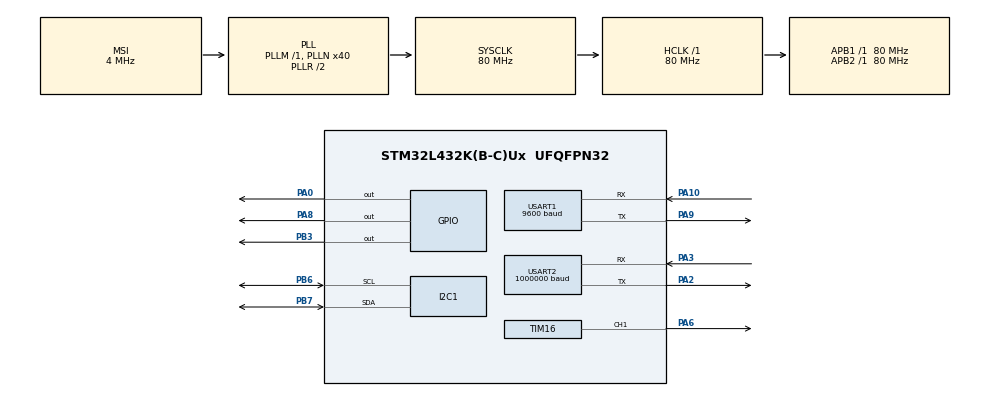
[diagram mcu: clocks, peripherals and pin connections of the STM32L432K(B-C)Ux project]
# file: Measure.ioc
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I2C1.OwnAddress=0x20
I2C1.Timing=0x10909CEC
Mcu.Family=STM32L4
Mcu.Name=STM32L432K(B-C)Ux
Mcu.Package=UFQFPN32
NVIC.I2C1_EV_IRQn=true\:0\:0\:false\:false\:true\:true\:true\:true
NVIC.PriorityGroup=NVIC_PRIORITYGROUP_4
NVIC.USART1_IRQn=true\:0\:0\:true\:false\:true\:true\:true\:true
NVIC.USART2_IRQn=true\:0\:0\:true\:false\:true\:true\:true\:true
PA0.Signal=GPIO_Output
PA10.Mode=Asynchronous
PA10.Signal=USART1_RX
PA2.Mode=Asynchronous
PA2.Signal=USART2_TX
PA3.Mode=Asynchronous
PA3.Signal=USART2_RX
PA6.Signal=S_TIM16_CH1
PA8.Signal=GPIO_Output
PA9.Mode=Asynchronous
PA9.Signal=USART1_TX
PB3\ (JTDO-TRACESWO).Signal=GPIO_Output
PB4\ (NJTRST).Signal=SPI1_MISO
PB5.Signal=SPI1_MOSI
PB6.GPIO_Pu=GPIO_PULLUP
PB6.Mode=I2C
PB6.Signal=I2C1_SCL
PB7.GPIO_Pu=GPIO_PULLUP
PB7.Mode=I2C
PB7.Signal=I2C1_SDA
ProjectManager.HeapSize=0x200
ProjectManager.StackSize=0x400
ProjectManager.TargetToolchain=STM32CubeIDE
RCC.AHBFreq_Value=80000000
RCC.APB1Freq_Value=80000000
RCC.APB1TimFreq_Value=80000000
RCC.APB2Freq_Value=80000000
RCC.APB2TimFreq_Value=80000000
RCC.CortexFreq_Value=80000000
RCC.HCLKFreq_Value=80000000
RCC.HSE_VALUE=8000000
RCC.HSI48_VALUE=48000000
RCC.HSI_VALUE=16000000
RCC.LSE_VALUE=32768
RCC.MSI_VALUE=4000000
RCC.PLLN=40
RCC.SYSCLKFreq_VALUE=80000000
RCC.SYSCLKSource=RCC_SYSCLKSOURCE_PLLCLK
RCC.VCOOutputFreq_Value=160000000
SH.S_TIM16_CH1.0=TIM16_CH1,PWM Generation1 CH1
TIM16.Channel=TIM_CHANNEL_1
TIM16.Period=100 - 1
TIM16.Prescaler=80 - 1
USART1.BaudRate=9600
USART1.Mode=MODE_TX_RX
USART1.VirtualMode-Asynchronous=VM_ASYNC
USART2.BaudRate=1000000
USART2.VirtualMode-Asynchronous=VM_ASYNC
VP_TIM16_VS_ClockSourceINT.Mode=Enable_Timer
board=custom

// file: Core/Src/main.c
/* USER CODE BEGIN Header */
/**
  ******************************************************************************
  * @file           : main.c
  * @brief          : Main program body
  ******************************************************************************
  * @attention
  *
  * Copyright (c) 2023 STMicroelectronics.
  * All rights reserved.
  *
  * This software is licensed under terms that can be found in the LICENSE file
  * in the root directory of this software component.
  * If no LICENSE file comes with this software, it is provided AS-IS.
  *
  ******************************************************************************
  */
/* USER CODE END Header */
#include "main.h"

/* USER CODE BEGIN Includes */

#include "string.h"
#include <stdio.h>
#include <stdlib.h>
#include "math.h"

/* USER CODE END Includes */

/* USER CODE BEGIN PTD */

__IO uint32_t     Transfer_Direction = 0;
__IO uint32_t     Xfer_Complete = 0;

/* USER CODE END PTD */

/* USER CODE BEGIN PD */

#define sizeTableMoy 361

/* USER CODE END PD */

I2C_HandleTypeDef hi2c1;

TIM_HandleTypeDef htim16;

UART_HandleTypeDef huart1;
UART_HandleTypeDef huart2;

/* USER CODE BEGIN PV */

//-------PV for i2c connection
uint8_t I2C_TxBuffer[20]="W\0\0L"; //buffer of i2c transmition
uint8_t I2C_RxBuffer[20]=""; //buffer of i2c reception
int dir=2; //type of command received (0->reception ; 1->transmission)

//-------PV for uart connection
uint8_t UART1_rxBuffer[110]; //buffer of IMU reception
uint8_t lidar_Rx[6800]; //buffer of lidar reception
uint8_t lidar_Tx[10]; //buffer of lidar transmition
char Wmode='F'; //imu reception mode
char Lmode='F'; //lidar reception mode

//-------PV for IMU reception
uint8_t AccData[8]; //acceleration data package
uint8_t AngVelData[8]; //angle velocity data package
uint8_t AngData[8]; //angle data package

int state=0; //state of byte acquisition
int Byte_Num=0; //number of byte received

//-------PV for Lidar reception
int StartLidar=1; //initialisation phase of lidar
int ReceiveInfo=0; //info received phase
int ReceiveSync=0; //synchronization received phase

uint8_t SyncByte=0; //value of syncbyte
uint8_t Checksum=0; //received checksum
uint8_t Check=0; //measured checksum

int stateLidar=0; //byte acquisition state
int indexLidar=0; //number of distance obtained in a data response
int startSample=1; //begining of new data acquisition
int S_bit=0, Sample=0; //value of Start bit (new angle of 360) and validation of sample

float Angle[3300]; //table of each angle measured
int Distance[3300]; // table of each distance measured in mm
int intDist=0, intAngle=0; //number of angle and distance obtained

uint8_t StartAngleLSB;  //lsb of start angle
uint8_t StartAngleMSB; //msb of start angle
uint16_t StartAngleByte; //Start angle in byte
uint16_t DistanceByte; //distance in byte

double StartAngle=0.0; //value of the new start angle
double LastAngle=0.0; //value of the last angle
double DiffAngle=0.0; //angle between two acquisition of data from lidar

float DistMoy[sizeTableMoy]; //mean distance for each degree (360)
int intMoy[sizeTableMoy]; //number of value obtained for each degree

double X=0, Y=0, Theta_N=0; //x and y calculated via lidar and real angle of the robot

//-------PV for Heartbeat
uint32_t beat = 0;

/* USER CODE END PV */

void SystemClock_Config(void);
static void MX_GPIO_Init(void);
static void MX_I2C1_Init(void);
static void MX_USART1_UART_Init(void);
static void MX_USART2_UART_Init(void);
static void MX_TIM16_Init(void);
/* USER CODE BEGIN PFP */
void Call_UART(void);
void ClearBuffer(uint8_t* buffer, int size);
void Heartbeat(void);

/* USER CODE END PFP */

int main(void)
{
  /* USER CODE BEGIN 1 */

	//sprintf(buf,"\r\n");
	//strcpy((char*)UART1_rxBuffer,buf);
  /* USER CODE END 1 */

  /* MCU Configuration--------------------------------------------------------*/

  /* Reset of all peripherals, Initializes the Flash interface and the Systick. */
  HAL_Init();

  /* Configure the system clock */
  SystemClock_Config();

  /* Initialize all configured peripherals */
  MX_GPIO_Init();
  MX_I2C1_Init();
  MX_USART1_UART_Init();
  MX_USART2_UART_Init();
  MX_TIM16_Init();
  /* USER CODE BEGIN 2 */

  HAL_I2C_EnableListen_IT(&hi2c1);

  /* USER CODE END 2 */

  /* Infinite loop */
  /* USER CODE BEGIN WHILE */

  if(Lmode=='T'){

	  //----get info command
	  lidar_Tx[0]=0xA5; //"¥";
	  lidar_Tx[1]=0x50; //"P";

	  HAL_UART_Transmit_IT(&huart2, lidar_Tx, 2);

	  while(StartLidar==1){ //waiting for transmission of info command

	  }

	  StartLidar=1;

	  while(ReceiveInfo==0){ //waiting for reception of info command
		  HAL_UART_Receive_IT(&huart2, lidar_Rx, 27);
	  }

	  //----express scan command (dense mode)
	  lidar_Tx[1]=0x82;
	  lidar_Tx[2]=0x05; //" ";
	  lidar_Tx[3]=0x00; //" ";
	  lidar_Tx[4]=0x00; //" ";
	  lidar_Tx[5]=0x00; //" ";
	  lidar_Tx[6]=0x00; //" ";
	  lidar_Tx[7]=0x00; //" ";
	  lidar_Tx[8]=0x22; //" ";

	  HAL_UART_Transmit_IT(&huart2, lidar_Tx, 9);

	  while(StartLidar==1){ //waiting for transmission of express scan command

	   }

	  StartLidar=1;

	  while(ReceiveSync==0){ //waiting for reception of express scan command synchronization bytes
		  HAL_UART_Receive_IT(&huart2, lidar_Rx, 7);
	  }
	  Lmode='F';
  }
  else{
	  Lmode='T';
  }

  //--------------start of main---------------
  while (1)
  {
	  Heartbeat(); //command of the led

	  //-------i2c request management
	  switch (dir){
	  	  case 0: //reception command received from master
	  		  dir=2;
	  		  HAL_I2C_Slave_Seq_Receive_IT(&hi2c1, I2C_RxBuffer, sizeof(I2C_RxBuffer), I2C_FIRST_FRAME);
	  		  break;

	  	  case 1: //transmission command received from master
	  		  dir=2;
	  		  HAL_I2C_Slave_Seq_Transmit_IT(&hi2c1, I2C_TxBuffer, sizeof(I2C_TxBuffer),I2C_FIRST_FRAME);
	  		  break;

	  	  default:
	  		  break;
	  }

	  //-------uart reception management
	  if(Wmode=='F'){ //reception of IMU data
		  HAL_UART_Receive_IT(&huart1, UART1_rxBuffer, sizeof(UART1_rxBuffer));
	  }
	  else if(Lmode=='F'){ //reception of lidar data
		  if(HAL_UART_Receive_IT(&huart2, lidar_Rx, sizeof(lidar_Rx))==HAL_OK){
		  }
	  }

    /* USER CODE END WHILE */

  }
}

void SystemClock_Config(void)
{
  RCC_OscInitTypeDef RCC_OscInitStruct = {0};
  RCC_ClkInitTypeDef RCC_ClkInitStruct = {0};

  /** Configure the main internal regulator output voltage
  */
  if (HAL_PWREx_ControlVoltageScaling(PWR_REGULATOR_VOLTAGE_SCALE1) != HAL_OK)
  {
    Error_Handler();
  }

  /** Initializes the RCC Oscillators according to the specified parameters
  * in the RCC_OscInitTypeDef structure.
  */
  RCC_OscInitStruct.OscillatorType = RCC_OSCILLATORTYPE_MSI;
  RCC_OscInitStruct.MSIState = RCC_MSI_ON;
  RCC_OscInitStruct.MSICalibrationValue = 0;
  RCC_OscInitStruct.MSIClockRange = RCC_MSIRANGE_6;
  RCC_OscInitStruct.PLL.PLLState = RCC_PLL_ON;
  RCC_OscInitStruct.PLL.PLLSource = RCC_PLLSOURCE_MSI;
  RCC_OscInitStruct.PLL.PLLM = 1;
  RCC_OscInitStruct.PLL.PLLN = 40;
  RCC_OscInitStruct.PLL.PLLP = RCC_PLLP_DIV7;
  RCC_OscInitStruct.PLL.PLLQ = RCC_PLLQ_DIV2;
  RCC_OscInitStruct.PLL.PLLR = RCC_PLLR_DIV2;
  if (HAL_RCC_OscConfig(&RCC_OscInitStruct) != HAL_OK)
  {
    Error_Handler();
  }

  /** Initializes the CPU, AHB and APB buses clocks
  */
  RCC_ClkInitStruct.ClockType = RCC_CLOCKTYPE_HCLK|RCC_CLOCKTYPE_SYSCLK
                              |RCC_CLOCKTYPE_PCLK1|RCC_CLOCKTYPE_PCLK2;
  RCC_ClkInitStruct.SYSCLKSource = RCC_SYSCLKSOURCE_PLLCLK;
  RCC_ClkInitStruct.AHBCLKDivider = RCC_SYSCLK_DIV1;
  RCC_ClkInitStruct.APB1CLKDivider = RCC_HCLK_DIV1;
  RCC_ClkInitStruct.APB2CLKDivider = RCC_HCLK_DIV1;

  if (HAL_RCC_ClockConfig(&RCC_ClkInitStruct, FLASH_LATENCY_4) != HAL_OK)
  {
    Error_Handler();
  }
}

static void MX_I2C1_Init(void)
{

  hi2c1.Instance = I2C1;
  hi2c1.Init.Timing = 0x10909CEC;
  hi2c1.Init.OwnAddress1 = 64;
  hi2c1.Init.AddressingMode = I2C_ADDRESSINGMODE_7BIT;
  hi2c1.Init.DualAddressMode = I2C_DUALADDRESS_DISABLE;
  hi2c1.Init.OwnAddress2 = 0;
  hi2c1.Init.OwnAddress2Masks = I2C_OA2_NOMASK;
  hi2c1.Init.GeneralCallMode = I2C_GENERALCALL_DISABLE;
  hi2c1.Init.NoStretchMode = I2C_NOSTRETCH_DISABLE;
  if (HAL_I2C_Init(&hi2c1) != HAL_OK)
  {
    Error_Handler();
  }

  /** Configure Analogue filter
  */
  if (HAL_I2CEx_ConfigAnalogFilter(&hi2c1, I2C_ANALOGFILTER_ENABLE) != HAL_OK)
  {
    Error_Handler();
  }

  /** Configure Digital filter
  */
  if (HAL_I2CEx_ConfigDigitalFilter(&hi2c1, 0) != HAL_OK)
  {
    Error_Handler();
  }

}

static void MX_TIM16_Init(void)
{

  TIM_OC_InitTypeDef sConfigOC = {0};
  TIM_BreakDeadTimeConfigTypeDef sBreakDeadTimeConfig = {0};

  htim16.Instance = TIM16;
  htim16.Init.Prescaler = 80 - 1;
  htim16.Init.CounterMode = TIM_COUNTERMODE_UP;
  htim16.Init.Period = 100 - 1;
  htim16.Init.ClockDivision = TIM_CLOCKDIVISION_DIV1;
  htim16.Init.RepetitionCounter = 0;
  htim16.Init.AutoReloadPreload = TIM_AUTORELOAD_PRELOAD_DISABLE;
  if (HAL_TIM_Base_Init(&htim16) != HAL_OK)
  {
    Error_Handler();
  }
  if (HAL_TIM_PWM_Init(&htim16) != HAL_OK)
  {
    Error_Handler();
  }
  sConfigOC.OCMode = TIM_OCMODE_PWM1;
  sConfigOC.Pulse = 0;
  sConfigOC.OCPolarity = TIM_OCPOLARITY_HIGH;
  sConfigOC.OCNPolarity = TIM_OCNPOLARITY_HIGH;
  sConfigOC.OCFastMode = TIM_OCFAST_DISABLE;
  sConfigOC.OCIdleState = TIM_OCIDLESTATE_RESET;
  sConfigOC.OCNIdleState = TIM_OCNIDLESTATE_RESET;
  if (HAL_TIM_PWM_ConfigChannel(&htim16, &sConfigOC, TIM_CHANNEL_1) != HAL_OK)
  {
    Error_Handler();
  }
  sBreakDeadTimeConfig.OffStateRunMode = TIM_OSSR_DISABLE;
  sBreakDeadTimeConfig.OffStateIDLEMode = TIM_OSSI_DISABLE;
  sBreakDeadTimeConfig.LockLevel = TIM_LOCKLEVEL_OFF;
  sBreakDeadTimeConfig.DeadTime = 0;
  sBreakDeadTimeConfig.BreakState = TIM_BREAK_DISABLE;
  sBreakDeadTimeConfig.BreakPolarity = TIM_BREAKPOLARITY_HIGH;
  sBreakDeadTimeConfig.AutomaticOutput = TIM_AUTOMATICOUTPUT_DISABLE;
  if (HAL_TIMEx_ConfigBreakDeadTime(&htim16, &sBreakDeadTimeConfig) != HAL_OK)
  {
    Error_Handler();
  }
  HAL_TIM_MspPostInit(&htim16);

}

static void MX_USART1_UART_Init(void)
{

  huart1.Instance = USART1;
  huart1.Init.BaudRate = 9600;
  huart1.Init.WordLength = UART_WORDLENGTH_8B;
  huart1.Init.StopBits = UART_STOPBITS_1;
  huart1.Init.Parity = UART_PARITY_NONE;
  huart1.Init.Mode = UART_MODE_TX_RX;
  huart1.Init.HwFlowCtl = UART_HWCONTROL_NONE;
  huart1.Init.OverSampling = UART_OVERSAMPLING_16;
  huart1.Init.OneBitSampling = UART_ONE_BIT_SAMPLE_DISABLE;
  huart1.AdvancedInit.AdvFeatureInit = UART_ADVFEATURE_NO_INIT;
  if (HAL_UART_Init(&huart1) != HAL_OK)
  {
    Error_Handler();
  }

}

static void MX_USART2_UART_Init(void)
{

  huart2.Instance = USART2;
  huart2.Init.BaudRate = 1000000;
  huart2.Init.WordLength = UART_WORDLENGTH_8B;
  huart2.Init.StopBits = UART_STOPBITS_1;
  huart2.Init.Parity = UART_PARITY_NONE;
  huart2.Init.Mode = UART_MODE_TX_RX;
  huart2.Init.HwFlowCtl = UART_HWCONTROL_NONE;
  huart2.Init.OverSampling = UART_OVERSAMPLING_16;
  huart2.Init.OneBitSampling = UART_ONE_BIT_SAMPLE_DISABLE;
  huart2.AdvancedInit.AdvFeatureInit = UART_ADVFEATURE_NO_INIT;
  if (HAL_UART_Init(&huart2) != HAL_OK)
  {
    Error_Handler();
  }

}

static void MX_GPIO_Init(void)
{
  GPIO_InitTypeDef GPIO_InitStruct = {0};

  /* GPIO Ports Clock Enable */
  __HAL_RCC_GPIOA_CLK_ENABLE();
  __HAL_RCC_GPIOB_CLK_ENABLE();

  /*Configure GPIO pin Output Level */
  HAL_GPIO_WritePin(GPIOA, GPIO_PIN_0|GPIO_PIN_8, GPIO_PIN_RESET);

  /*Configure GPIO pin Output Level */
  HAL_GPIO_WritePin(GPIOB, GPIO_PIN_3, GPIO_PIN_RESET);

  /*Configure GPIO pins : PA0 PA8 */
  GPIO_InitStruct.Pin = GPIO_PIN_0|GPIO_PIN_8;
  GPIO_InitStruct.Mode = GPIO_MODE_OUTPUT_PP;
  GPIO_InitStruct.Pull = GPIO_NOPULL;
  GPIO_InitStruct.Speed = GPIO_SPEED_FREQ_LOW;
  HAL_GPIO_Init(GPIOA, &GPIO_InitStruct);

  /*Configure GPIO pin : PB3 */
  GPIO_InitStruct.Pin = GPIO_PIN_3;
  GPIO_InitStruct.Mode = GPIO_MODE_OUTPUT_PP;
  GPIO_InitStruct.Pull = GPIO_NOPULL;
  GPIO_InitStruct.Speed = GPIO_SPEED_FREQ_LOW;
  HAL_GPIO_Init(GPIOB, &GPIO_InitStruct);

  /*Configure GPIO pins : PB4 PB5 */
  GPIO_InitStruct.Pin = GPIO_PIN_4|GPIO_PIN_5;
  GPIO_InitStruct.Mode = GPIO_MODE_AF_PP;
  GPIO_InitStruct.Pull = GPIO_NOPULL;
  GPIO_InitStruct.Speed = GPIO_SPEED_FREQ_VERY_HIGH;
  GPIO_InitStruct.Alternate = GPIO_AF5_SPI1;
  HAL_GPIO_Init(GPIOB, &GPIO_InitStruct);

}

/* USER CODE BEGIN 4 */

//-----UART connection management-----
//transmit info to uart port (used for lidar command only)
void HAL_UART_TxCpltCallback(UART_HandleTypeDef *huart){
	if(StartLidar==1){ //initialisation of lidar
		StartLidar=0;
	}
}

//receiving and processing data from uart
void HAL_UART_RxCpltCallback(UART_HandleTypeDef *huart)
{

	if (huart->Instance == USART1){ //------UART1 connection (IMU)------

		state=0; //initialization of state

		//Wmode='T';

		//Reception of Data in arrays
		for(int i=0;i<sizeof(UART1_rxBuffer);i++){
			switch (state){
				case 0:      //verification if data is received
					if((i<100) && UART1_rxBuffer[i]==0x55){
						state=1; //data received
					}
				  break;

				case 1:      //Verification of what type of data it is
					if(UART1_rxBuffer[i]==0x51){
								state=2; //acceleration data
							}
					else if(UART1_rxBuffer[i]==0x52){
						state=3; //angular velocity data
					}
					else if(UART1_rxBuffer[i]==0x53){
						state=4; //angle data
					}
					else{
						state=0; //Return to searching Data
					}
				 break;

				case 2: //Recuperation of Data in Acc Array
					if (Byte_Num<8){
						AccData[Byte_Num]=UART1_rxBuffer[i];
						Byte_Num++;
					}
					else if (Byte_Num==8){
						Byte_Num=0;
						state=0;
					}
				 break;

				case 3:  //Recuperation of Data in AngVel Array
					if (Byte_Num<8){
						AngVelData[Byte_Num]=UART1_rxBuffer[i];
						Byte_Num++;
					}
					else if (Byte_Num==8){
						Byte_Num=0;
						state=0;
					}
				 break;

				case 4:  //Recuperation of Data in Ang Array
					if (Byte_Num<8){
						AngData[Byte_Num]=UART1_rxBuffer[i];
						Byte_Num++;
					}
					else if (Byte_Num==8){
						Byte_Num=0;
						state=0;
					}
				 break;

				default:
					state=0;
					Byte_Num=0;
					break;
			}
		}

		//Inversion of Low bytes and High bytes in Data array

		int Value1;
		int Value2;
		int Value3;

		for(int j=0;j<4;j++){
			Value1=AccData[2*j];
			AccData[2*j]=AccData[2*j+1];
			AccData[2*j+1]=Value1;

			Value2=AngVelData[2*j];
			AngVelData[2*j]=AngVelData[2*j+1];
			AngVelData[2*j+1]=Value2;

			Value3=AngData[2*j];
			AngData[2*j]=AngData[2*j+1];
			AngData[2*j+1]=Value3;

		}

		//changing the value of Wz to transmit in the I2C transmit buffer
		I2C_TxBuffer[0]='W';
		I2C_TxBuffer[1]= (AngVelData[4]);
		I2C_TxBuffer[2]= (AngVelData[5]);

		//Lmode='F';
	}

	else if (huart->Instance == USART2){ //------UART2 connection (lidar)------

		Lmode='T';

		//Initialization of lidar
		if (StartLidar==1){
			if (ReceiveInfo==0){ //verification of info command
				ReceiveInfo=1;
			}
			else if (ReceiveSync==0){ //verification of scan request first package
				ReceiveSync=1;
				StartLidar=0;
			}
		}

		//processing data received after scan request
		else{

			//initialization of arrays and variables needed
			for(int k=0;k<intAngle;k++){
				Angle[k]=0;
				Distance[k]=0;
			}

			stateLidar=0;
			startSample=1;
			intAngle=0;
			intDist=0;

			//Reception of angle and distance Data in arrays
			for(int i=0; i<6800; i++){
				switch (stateLidar){
				case 0:      //verification if data is received and reception of checksum value
					if(((lidar_Rx[i] >> 4) == 0xa) && (6800-i >= 4)){
						SyncByte= (lidar_Rx[i] >> 4);
						Checksum= lidar_Rx[i] & (~0xa0);
						stateLidar=1;
					}
					break;

				case 1:     //end of verification if data is received and reception of checksum value
					if((lidar_Rx[i] >> 4) ==0x5){
						SyncByte= (SyncByte << 4) | (lidar_Rx[i] >> 4);
						Checksum= (Checksum | ((lidar_Rx[i] & (~0x50)) << 4));
						stateLidar=2;
					}
					else{ //if data isn't received then reboot of checksum and starting again state 0
						Checksum=0x00;
						SyncByte=0x00;
						stateLidar=0;
					}
					break;

				case 2:     //reception of angle LSB of current response package
					Check=0x0;
					StartAngleLSB = lidar_Rx[i];
					Check=Check ^ lidar_Rx[i];
					stateLidar = 3;
					break;

				case 3 :   //reception of angle MSB of current response package
					StartAngleMSB = lidar_Rx[i];
					StartAngleByte =((StartAngleMSB << 8 | StartAngleLSB));
					Check=Check ^ lidar_Rx[i];  //verification of the checksum from current response package

					LastAngle=StartAngle;

					StartAngle = (double)StartAngleByte;  //value of start Angle

					if(StartAngle >= 32768){ //verification of S bit (not used here)
						StartAngle = StartAngle/2.0;
						S_bit=1;
					}
					else{
						S_bit=0;
					}

					StartAngle = StartAngle/64.0;

					if(startSample==1 || Sample==0){
						startSample=0;
					}
					else{  //calculation of each angle from last response package
						DiffAngle=StartAngle - LastAngle;
						if(DiffAngle<0){
							DiffAngle+=360;
						}
						for(int j=0;j<40;j++){
							Angle[intAngle]= LastAngle + (DiffAngle/40)*j;
							if (Angle[intAngle]>360){
								Angle[intAngle]-=360;
							}
							intAngle++;
						}
					}

					indexLidar=0;
					if(6800-i >= 85){ //verification of data still to receive (if not enough then default state and wait for end of for)
						stateLidar = 4;
					}
					else{
						stateLidar=10; //default state
					}

					break;

				case 4: //reception of each distance LSB data from current response package
					DistanceByte = lidar_Rx[i];
					Check=Check ^ lidar_Rx[i];  //verification of the checksum from current response package

					stateLidar=5;

					break;

				case 5: //reception of each distance MSB data from current response package

					Check=Check ^ lidar_Rx[i];  //verification of the checksum from current response package

					DistanceByte = (lidar_Rx[i] << 8 | DistanceByte);
					Distance[intDist] = (int)(DistanceByte);  //value of current distance
					intDist++;

					if(indexLidar<39){  //verification of the end of current response package
						indexLidar++;
						stateLidar=4;
					}
					else{  //end of response package
						if(Check==Checksum){ //verification of checksum (if not good then sample not valid)
							Sample=1;
						}
						else{ //if sample not valid then deleting distance received from the current response package
							for(int j=0;j<40;j++){
								Distance[intDist-j] = '\0';
							}
							intDist-=40;
							Sample=0;
						}

						stateLidar=0;
					}

					break;

				default:
					break;

				}

			}

			//calculation of mean value of distance on each degree (not used, just for verification mean)
			//initialization of arrays
			for(int k = 0;k<sizeTableMoy;k++){
				DistMoy[k]=0;
				intMoy[k]=0;
			}

			//reception of distance values for each angle in an array
			for(int j=0;j<3300;j++){
				if(Distance[j]!=0){
					if((int)Angle[j]>=0 && (int)Angle[j]<=360)
					DistMoy[(int)(Angle[j])]+=(float)Distance[j]/1000.0;
					intMoy[(int)(Angle[j])]++;
				}
			}

			//calculation of mean value for each angle
			for(int n=0;n<sizeTableMoy;n++){
				if (intMoy[n]!=0){
					DistMoy[n]=DistMoy[n]/intMoy[n];
				}
			}

			//calculation of position via obstacle
			//initialization of variables
			double obstaclex; //distance x from obstacle
			double obstacley; //istance y from obstacle
			double newangle, dist;
			double x[4], y[4];  //value of x and y from each obstacle
			double AnglePlot[4], DistPlot[4]; //angle and distance arrays
			int intplot=0; //number of true obstacle
			for(int n=0;n<4;n++){ //initialization of arrays
				AnglePlot[n]=0;
				DistPlot[n]=0;
				x[n]=0;
				y[n]=0;
			}

			//verification of obstacle and putting it in array if obstacle is true
			for(int i = 0; i < indexLidar; i++){
				newangle = (double)Angle[i]-Theta_N*180/M_PI; //angle on the same position as the beginning
				dist=(double)Distance[i]/1000.0;  //value of distance
				if (newangle < 0) {
					newangle += 360;
				}
				if (90 < newangle && newangle < 180 && dist < 23) { //verification of first obstacle
					obstaclex = X - (cos(newangle-90)*dist);
					obstacley = Y - (sin(newangle-90)*dist);
					if (obstaclex > -2 && obstaclex < 0 && obstacley > -2 && obstacley < 0) { //verification if current obstacle is possible
						AnglePlot[0] = newangle;
						DistPlot[0] = dist;
					}
				}
				if (0 < newangle && newangle < 90 && dist < 23) { //verification of second obstacle
					obstaclex = X + (cos(newangle)*dist);
					obstacley = Y - (sin(newangle)*dist);
					if (obstaclex > 15.6 && obstaclex < 17.6 && obstacley > -2 && obstacley < 0) { //verification if current obstacle is possible
						AnglePlot[1] = newangle;
						DistPlot[1] = dist;
					}
				}
				if (270 < newangle && newangle < 360 && dist < 23) { //verification of third obstacle
					obstaclex = X + (cos(newangle-270)*dist);
					obstacley = Y + (sin(newangle-270)*dist);
					if (obstaclex > 15.6 && obstaclex < 17.6 && obstacley > 14 && obstacley < 16) { //verification if current obstacle is possible
						AnglePlot[2] = newangle;
						DistPlot[2] = dist;
					}
				}
				if (180 < newangle && newangle < 270 && dist < 23) { //verification of fourth obstacle
					obstaclex = X - (cos(newangle-180)*dist);
					obstacley = Y + (sin(newangle-180)*dist);
					if (obstaclex > -2 && obstaclex < 0 && obstacley > 14 && obstacley < 16) { //verification if current obstacle is possible
						AnglePlot[3] = newangle;
						DistPlot[3] = dist;
					}
				}
			}

			//calculation of each obstacle x and y value
			x[0] = DistPlot[0]*cos(AnglePlot[0]-90)-1;
			y[0] = DistPlot[0]*sin(AnglePlot[0]-90)-1;

			x[1] = 15.6-(DistPlot[1]*cos(AnglePlot[1])-1);
			y[1] = DistPlot[1]*sin(AnglePlot[1])-1;

			x[2] = 15.6-(DistPlot[2]*cos(AnglePlot[2]-270)-1);
			y[2] = 15-(DistPlot[2]*sin(AnglePlot[2]-270)-1);

			x[3] = DistPlot[3]*cos(AnglePlot[3]-180)-1;
			y[3] = 15-(DistPlot[3]*sin(AnglePlot[3]-180)-1);

			//verification of value of x and y for each obstacle
			for(int n=0;n<4;n++){
				if(DistPlot[n]!=0){
					X+=x[n];
					Y+=y[n];
					intplot++;
				}
			}

			//calculation of mean value of x and y (true position of robot)
			if(intplot!=0){
				X = (X/intplot)*1000.0;
				Y = (Y/intplot)*1000.0;
			}
			else{
				X=0;
				Y=0;
			}

			//changing the value of X and Y to transmit in the I2C transmit buffer
			I2C_TxBuffer[3]='L';
			I2C_TxBuffer[4]= (((unsigned long)X >> 8) & 0xff);
			I2C_TxBuffer[5]= ((unsigned long)X & 0xff);
			I2C_TxBuffer[6]= (((unsigned long)Y >> 8) & 0xff);
			I2C_TxBuffer[7]= ((unsigned long)Y & 0xff);

			Wmode='F';

		}

	}
}

//-----I2C connection management------
//command from master is received
void HAL_I2C_AddrCallback(I2C_HandleTypeDef *hi2c, uint8_t TransferDirection, uint16_t AddrMatchCode){
	dir=TransferDirection; //request type (reception=0 ; transmission=1)
}

//activated when i2c transmit_IT is called
void HAL_I2C_SlaveTxCpltCallback (I2C_HandleTypeDef * hi2c)
{
	strcpy((char*)I2C_RxBuffer,""); //emptying the i2c rx buffer
}

//activated when i2c receive_IT is called
void HAL_I2C_SlaveRxCpltCallback (I2C_HandleTypeDef * hi2c)
{
	//Verification of information needed
	if (strcmp((char*)I2C_RxBuffer, "WL:") == 0){
		Theta_N = (double)((I2C_RxBuffer[3] << 8) & I2C_RxBuffer[4])/1000.0; //recuperation of angle theta measured by the ctrl stm32
	}
}

void Heartbeat() {
	if (HAL_GetTick() - beat > 500) { //verification of time for 500ms
		HAL_GPIO_TogglePin(GPIOB, GPIO_PIN_3); //inversion of led (on/off)
		beat = HAL_GetTick(); //restarting the process
	}
}

//emptying a buffer
void ClearBuffer(uint8_t* buffer, int size){
	for (int i=0; i<size ; i++){
		buffer[i]='\0';
	}
}

/* USER CODE END 4 */

void Error_Handler(void)
{
  __disable_irq();
  while (1)
  {
  }
}
